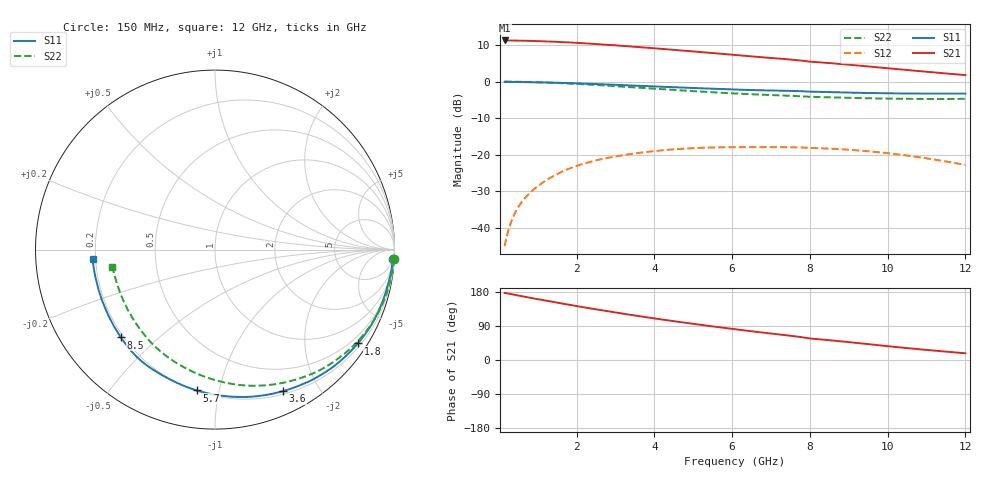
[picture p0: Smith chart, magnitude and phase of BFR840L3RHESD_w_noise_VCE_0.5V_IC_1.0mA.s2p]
! Infineon Technologies  Discrete & RF Semiconductors
! BFR840L3RHESD
! VCE =  0.5 V,  IC =  1.0 mA
! Common Emitter S-Parameters:  Jun 2012
# GHz  S  MA  R  50
!  f  S11  S21  S12  S22
! GHz  MAG  ANG  MAG  ANG  MAG  ANG  MAG  ANG
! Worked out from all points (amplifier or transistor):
!   91 points, 150 MHz to 12 GHz, reference 50 ohm
!   highest |S21| = 11.2 dB at 150 MHz (marker M1)
!   |S21| within 3 dB of that: start of sweep to 4.995 GHz
!   unconditionally stable (mu >= 1): 10.24 GHz to end of sweep
!   at 1.3 GHz: K = 0.06, MSG = 18.7 dB, |S12| = -26.5 dB
!   at 4.3 GHz: K = 0.20, MSG = 13.8 dB, |S12| = -18.7 dB
!   at 12 GHz: K = 1.77, MAG = 7.2 dB, |S12| = -22.8 dB
!   lowest NFmin = 0.33 dB at 450 MHz
!   S11 on the Smith chart (normalised r, x): 150 MHz: 7, -38; 1.8 GHz: 0.30, -3.32; 3.6 GHz: 0.23, -1.57; 5.7 GHz: 0.20, -0.86; 8.5 GHz: 0.19, -0.38; 12 GHz: 0.19, -0.04
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0.15  0.9909 -2.9  3.649 177.1  0.0056 81.1  0.9981 -3.0
0.25  0.9908 -4.8  3.643 175.1  0.0093 78.9  0.9968 -5.0
0.35  0.9893 -6.7  3.638 173.2  0.0133 79.0  0.9952 -7.0
0.6  0.9836 -11.4  3.621 168.3  0.0229 78.1  0.9899 -11.9
1.1  0.9738 -20.6  3.559 158.8  0.0404 70.7  0.9741 -21.5
1.5  0.963 -27.9  3.49 151.4  0.0542 64.3  0.9559 -29.0
1.8  0.9521 -33.3  3.429 146.0  0.0641 59.7  0.9395 -34.5
2.2  0.9367 -40.5  3.337 138.8  0.0757 53.4  0.9156 -41.7
2.6  0.9203 -47.5  3.23 132.1  0.0858 47.6  0.8911 -48.7
3  0.9031 -54.3  3.134 125.4  0.0942 41.7  0.8638 -55.4
3.6  0.8749 -64.3  2.961 115.9  0.1057 33.6  0.8241 -65.2
4.2  0.8496 -74.0  2.796 106.9  0.1145 25.9  0.7868 -74.6
5  0.8167 -86.6  2.582 95.5  0.1227 16.0  0.7399 -86.5
5.7  0.7914 -97.3  2.404 86.1  0.1259 7.7  0.7041 -96.5
6.1  0.7778 -103.2  2.305 80.9  0.1264 3.2  0.6862 -102.1
6.7  0.7605 -111.8  2.165 73.4  0.1265 -3.0  0.6631 -110.2
7.4  0.7472 -121.5  2.022 65.2  0.1263 -9.8  0.641 -119.2
8  0.7286 -131.6  1.872 56.8  0.1238 -17.4  0.6194 -128.5
8.5  0.7175 -137.0  1.79 52.3  0.121 -21.7  0.6089 -133.5
9.5  0.6974 -149.0  1.61 41.9  0.1114 -31.9  0.5909 -144.9
10.5  0.6863 -160.7  1.439 31.4  0.0973 -42.2  0.5804 -156.0
12  0.6845 -175.5  1.226 17.7  0.0725 -53.8  0.58 -170.5
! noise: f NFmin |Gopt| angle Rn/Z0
0.45  0.33  0.88  10  0.41
0.9  0.36  0.86  14  0.39
1.9  0.41  0.8  27  0.37
3.5  0.46  0.76  44  0.34
4  0.5  0.74  55  0.33
5.5  0.61  0.75  73  0.29
7  0.78  0.71  93  0.24
8  0.93  0.69  105  0.21
10  1.21  0.61  124  0.16
12  1.56  0.55  153  0.08
